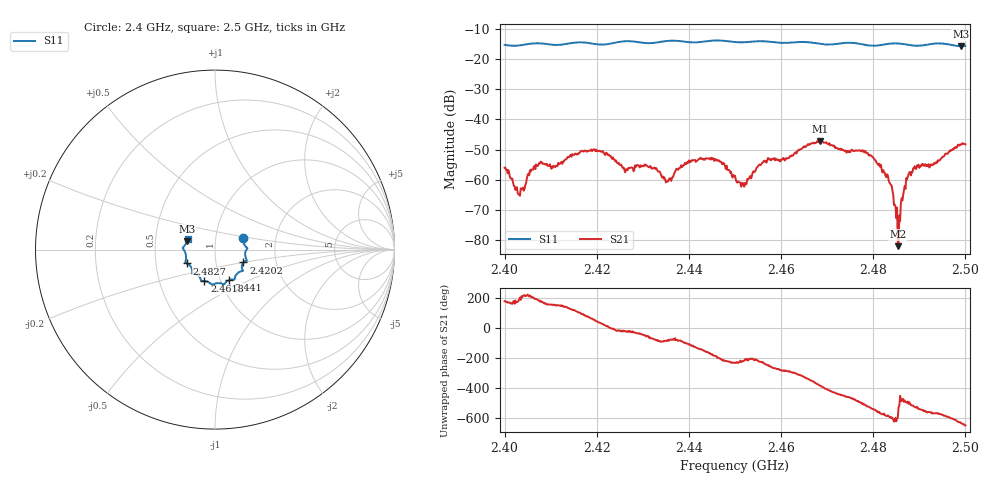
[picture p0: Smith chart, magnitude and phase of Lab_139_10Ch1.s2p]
# Hz S RI R 50
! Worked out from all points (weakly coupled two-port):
!   601 points, 2.4 GHz to 2.5 GHz, reference 50 ohm
!   highest |S21| = -47.14 dB at 2.4685 GHz (marker M1); lowest = -81.9 dB at 2.4853 GHz (marker M2)
!   lowest |S11| = -15.8 dB at 2.499 GHz (marker M3), VSWR 1.39, Z = 36.4 + j3.48 ohm
!   |S11| at or under -10 dB: start of sweep to end of sweep
!   S12 and S22 are empty: the file has one direction only
!   S11 on the Smith chart (normalised r, x): 2.4 GHz: 1.36, +0.18; 2.4202 GHz: 1.36, -0.20; 2.441 GHz: 1.10, -0.39; 2.4618 GHz: 0.84, -0.30; 2.4827 GHz: 0.72, -0.12; 2.5 GHz: 0.73, +0.09
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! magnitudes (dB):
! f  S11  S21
! 2.4 GHz  -15.4  -56.0
! 2.4033 GHz  -15.5  -65.3
! 2.4073 GHz  -14.9  -55.0
! 2.4167 GHz  -14.5  -50.4
! 2.4202 GHz  -15.2  -50.3
! 2.4262 GHz  -14.2  -57.5
! 2.4333 GHz  -14.5  -57.3
! 2.4355 GHz  -14.1  -60.5
! 2.441 GHz  -14.6  -53.5
! 2.4463 GHz  -13.9  -53.6
! 2.45 GHz  -14.5  -58.6
! 2.4518 GHz  -14.5  -61.9
! 2.4618 GHz  -14.6  -52.5
! 2.4667 GHz  -14.6  -47.9
! 2.4685 GHz  -15.1  -47.1
! 2.4782 GHz  -15.3  -50.9
! 2.4827 GHz  -15.2  -58.6
! 2.4833 GHz  -15.0  -60.1
! 2.4853 GHz  -14.9  -81.9
! 2.4882 GHz  -15.5  -58.6
! 2.499 GHz  -15.8  -48.4
! 2.5 GHz  -15.7  -48.3
